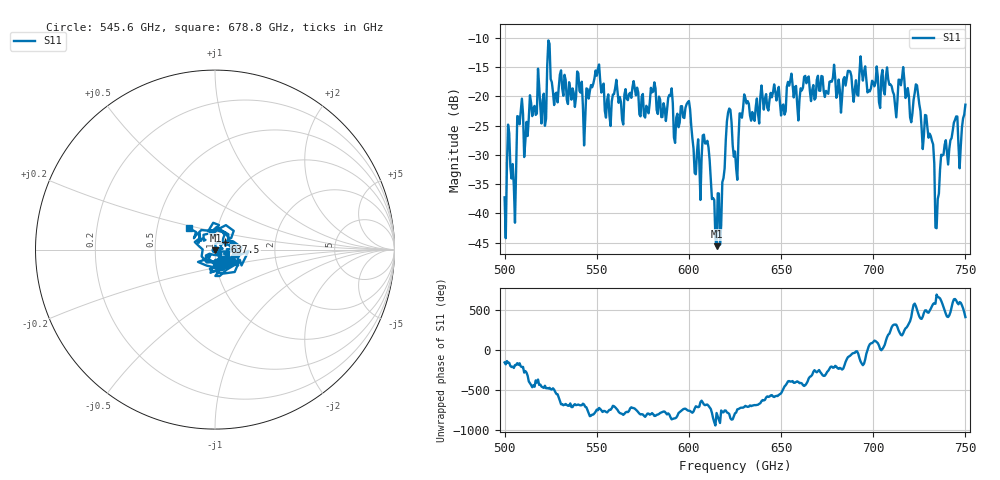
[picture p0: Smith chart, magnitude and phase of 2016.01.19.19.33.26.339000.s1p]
!Created with skrf (http://scikit-rf.org).
# GHz S RI R 50.0
!freq ReS11 ImS11
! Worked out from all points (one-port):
!   401 points, 500 GHz to 750 GHz, reference 50 ohm
!   lowest |S11| = -45.6 dB at 615 GHz (marker M1), VSWR 1.01, Z = 50.2 - j0.478 ohm
!   |S11| at or under -10 dB: start of sweep to end of sweep
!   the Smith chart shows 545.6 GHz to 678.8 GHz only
!   S11 on the Smith chart (normalised r, x): 545.6 GHz: 1.05, -0.19; 637.5 GHz: 1.11, +0.10; 678.8 GHz: 0.73, +0.18
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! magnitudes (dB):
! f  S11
! 500 GHz  -37.2
! 502.5 GHz  -26.3
! 505 GHz  -35.2
! 508.1 GHz  -24.8
! 521.2 GHz  -19.5
! 524.4 GHz  -11.0
! 531.2 GHz  -18.6
! 545.6 GHz  -20.4
! 562.5 GHz  -20.1
! 580.6 GHz  -19.2
! 593.8 GHz  -23.0
! 599.4 GHz  -21.0
! 605 GHz  -27.3
! 609.4 GHz  -28.0
! 615 GHz  -45.6
! 618.1 GHz  -34.6
! 621.9 GHz  -22.1
! 625 GHz  -29.4
! 630.6 GHz  -20.3
! 637.5 GHz  -23.0
! 656.2 GHz  -18.0
! 678.8 GHz  -14.6
! 687.5 GHz  -15.8
! 718.8 GHz  -18.6
! 729.4 GHz  -25.3
! 735 GHz  -37.5
! 738.1 GHz  -29.9
! 750 GHz  -21.4
